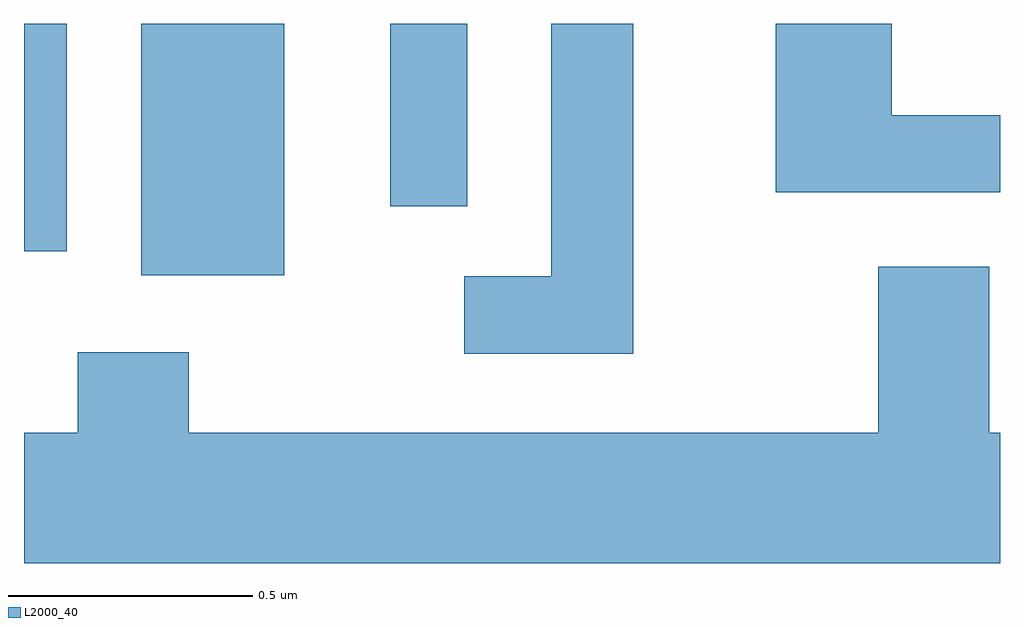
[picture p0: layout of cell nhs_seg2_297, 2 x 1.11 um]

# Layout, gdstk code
import gdstk
lib = gdstk.Library(unit=1e-6, precision=1e-09)
def R(c, l, rs):  # rectangles x0, y0, x1, y1
    for r in rs: c.add(gdstk.rectangle(r[:2], r[2:], *l))
def P(c, l, *ps):  # polygons
    for p in ps: c.add(gdstk.Polygon(p, *l))
L2000_40 = (2000, 40)

nhs_seg2_297 = lib.new_cell('nhs_seg2_297')
R(nhs_seg2_297, L2000_40, [(187.851,1002.286,188.144,1002.802), (187.611,1002.336,187.699,1002.802), (188.361,1002.428,188.519,1002.802)])
P(nhs_seg2_297, L2000_40, [(189.611,1002.614),(189.389,1002.614),(189.389,1002.802),(189.151,1002.802),(189.151,1002.456),(189.611,1002.456)],
  [(188.859,1002.802),(188.691,1002.802),(188.691,1002.284),(188.513,1002.284),(188.513,1002.126),(188.859,1002.126)],
  [(189.611,1001.964),(189.589,1001.964),(189.589,1002.304),(189.361,1002.304),(189.361,1001.964),(187.949,1001.964),(187.949,1002.129),(187.721,1002.129),(187.721,1001.964),(187.611,1001.964),(187.611,1001.696),(189.611,1001.696)])

lib.write_gds('nhs_seg2_297.gds')
